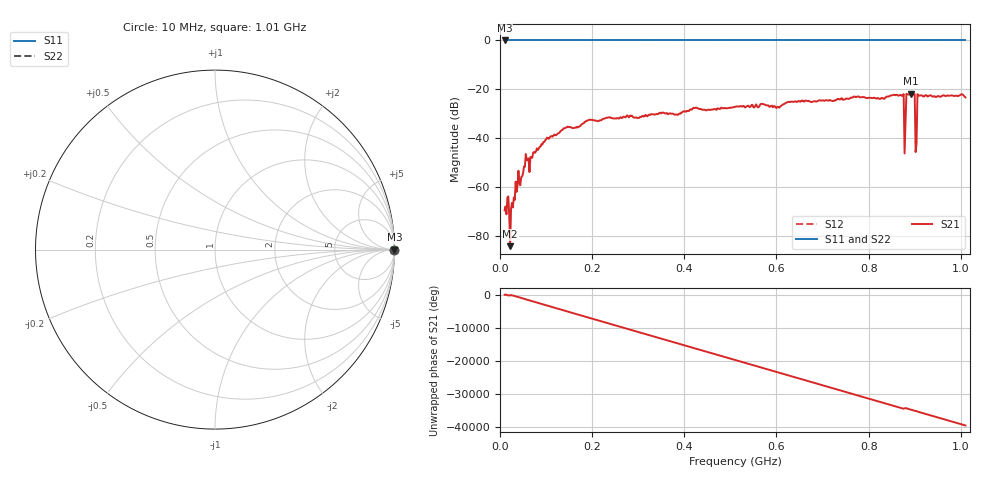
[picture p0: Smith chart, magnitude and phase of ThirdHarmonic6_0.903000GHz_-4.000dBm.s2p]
! 8/16/2025 5:35:49 AM
! C:\ANRITSUVNA\TEMP\TEMP.S2P
! CHANNEL.1
! TR.MEASUREMENT
! RAW.DATA
! RF.CORRECTION.OFF
! AVERAGING.OFF
! IF.BANDWIDTH: 5KHZ
! SWEEPTYPE:  FREQ.SWEEP(Linear)
! Reference Plane Port Info
! PORT:  PORT1  PORT2
! DISTANCE:  0  m  0  m
! TIME:  0  s  0  s
! PHASE.OFFSET:  0  deg.  0  deg.
! LOSS:  0  dB  0  dB
! REF.LOSS:  0  dB  0  dB
! REF.FREQ:  0  Hz  0  Hz
! Power Info
! POWER:  -20  dBm  -20  dBm
! EFF.POWER:  -20  dBm  -20  dBm
! SOURCE.ATTEN:  0  dB  0  dB
! TEST.ATTEN:  0  dB  0  dB
# GHZ S RI R 50.0
! FREQ.GHZ  S11RE  S11IM  S21RE  S21IM  S12RE  S12IM  S22RE  S22IM
!; PortSelection: Port_12
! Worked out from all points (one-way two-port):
!   501 points, 10 MHz to 1.01 GHz, reference 50 ohm
!   highest |S21| = -21.76 dB at 892 MHz (marker M1); lowest = -84.0 dB at 22 MHz (marker M2)
!   lowest |S11| = 0.0 dB at 10 MHz (marker M3)
!   |S11| at or under -10 dB: nowhere
!   |S22| runs from 0.0 to 0.0 dB; largest |S21 - S12| = 1.1
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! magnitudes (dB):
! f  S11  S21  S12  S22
! 10 MHz  0.0  -69.4  0.0  0.0
! 14 MHz  0.0  -71.0  0.0  0.0
! 22 MHz  0.0  -84.0  0.0  0.0
! 26 MHz  0.0  -66.3  0.0  0.0
! 38 MHz  0.0  -59.5  0.0  0.0
! 58 MHz  0.0  -48.7  0.0  0.0
! 106 MHz  0.0  -40.2  0.0  0.0
! 178 MHz  0.0  -34.1  0.0  0.0
! 344 MHz  0.0  -29.9  0.0  0.0
! 510 MHz  0.0  -27.2  0.0  0.0
! 678 MHz  0.0  -25.1  0.0  0.0
! 844 MHz  0.0  -22.8  0.0  0.0
! 872 MHz  0.0  -22.5  0.0  0.0
! 876 MHz  0.0  -21.9  0.0  0.0
! 882 MHz  0.0  -21.8  0.0  0.0
! 886 MHz  0.0  -22.1  0.0  0.0
! 892 MHz  0.0  -21.8  0.0  0.0
! 896 MHz  0.0  -22.2  0.0  0.0
! 900 MHz  0.0  -21.9  0.0  0.0
! 906 MHz  0.0  -21.9  0.0  0.0
! 910 MHz  0.0  -22.5  0.0  0.0
! 1.01 GHz  0.0  -23.3  0.0  0.0
